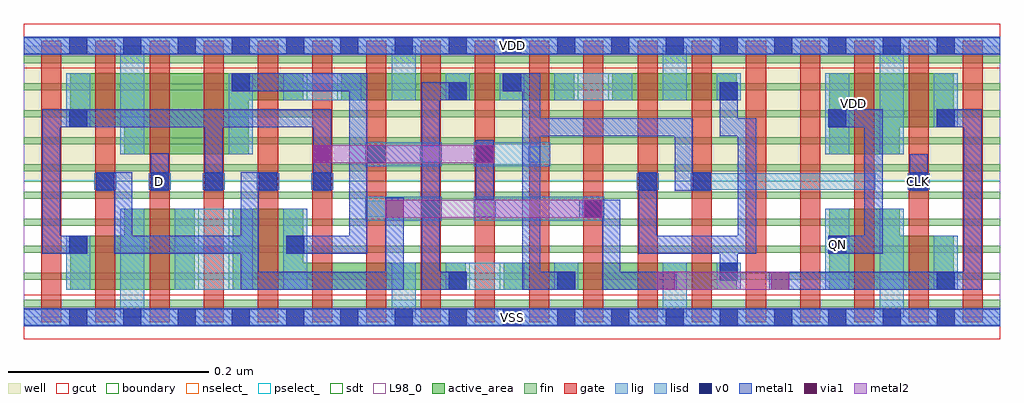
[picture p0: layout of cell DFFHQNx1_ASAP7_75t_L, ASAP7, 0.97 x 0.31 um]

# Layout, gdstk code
import gdstk
lib = gdstk.Library(unit=1e-6, precision=2.5e-10)
def R(c, l, rs):  # rectangles x0, y0, x1, y1
    for r in rs: c.add(gdstk.rectangle(r[:2], r[2:], *l))
def A(c, l, x, y, w, h, nx, ny, dx, dy):  # array of equal rectangles
    R(c, l, [(x+i*dx, y+j*dy, x+i*dx+w, y+j*dy+h) for i in range(nx) for j in range(ny)])
def P(c, l, *ps):  # polygons
    for p in ps: c.add(gdstk.Polygon(p, *l))
well = (1, 0)
fin = (2, 0)
gate = (7, 0)
gcut = (10, 0)
active_area = (11, 0)
nselect_ = (12, 0)
pselect_ = (13, 0)
lig = (16, 0)
lisd = (17, 0)
v0 = (18, 0)
metal1 = (19, 0)
metal2 = (20, 0)
via1 = (21, 0)
sdt = (88, 0)
L98_0 = (98, 0)
boundary = (100, 0)

dffhqnx1_asap7_75t_l = lib.new_cell('DFFHQNx1_ASAP7_75t_L')
R(dffhqnx1_asap7_75t_l, well, [(0,0.135,0.972,0.27)])
A(dffhqnx1_asap7_75t_l, fin, 0, 0.01, 0.972, 0.007, 1, 10, 0, 0.027)
A(dffhqnx1_asap7_75t_l, gate, 0.017, -0.005, 0.02, 0.28, 18, 1, 0.054, 0)
R(dffhqnx1_asap7_75t_l, gcut, [(0,-0.022,0.972,0.022), (0,0.248,0.972,0.292)])
R(dffhqnx1_asap7_75t_l, active_area, [(0.478,0.027,0.71,0.054), (0.316,0.216,0.548,0.243), (0.586,0.216,0.71,0.243)])
P(dffhqnx1_asap7_75t_l, active_area, [(0.802,0.027),(0.802,0.108),(0.872,0.108),(0.872,0.081),(0.926,0.081),(0.926,0.027)],
  [(0.208,0.027),(0.208,0.108),(0.278,0.108),(0.278,0.054),(0.44,0.054),(0.44,0.027)],
  [(0.046,0.027),(0.046,0.081),(0.1,0.081),(0.1,0.108),(0.17,0.108),(0.17,0.027)],
  [(0.802,0.162),(0.802,0.243),(0.926,0.243),(0.926,0.189),(0.872,0.189),(0.872,0.162)],
  [(0.1,0.162),(0.1,0.189),(0.046,0.189),(0.046,0.243),(0.278,0.243),(0.278,0.216),(0.224,0.216),(0.224,0.162)])
R(dffhqnx1_asap7_75t_l, nselect_, [(0,0,0.972,0.135)])
R(dffhqnx1_asap7_75t_l, pselect_, [(0,0.135,0.972,0.27)])
A(dffhqnx1_asap7_75t_l, lig, 0.34, 0.1, 0.022, 0.016, 3, 1, 0.108, 0)
A(dffhqnx1_asap7_75t_l, lig, 0.07, 0.127, 0.022, 0.016, 5, 1, 0.054, 0)
R(dffhqnx1_asap7_75t_l, lig, [(0,-0.008,0.972,0.008), (0.61,0.127,0.632,0.143), (0.664,0.127,0.848,0.143), (0.88,0.127,0.902,0.143), (0.394,0.154,0.416,0.17), (0.502,0.154,0.524,0.17), (0,0.262,0.972,0.278)])
R(dffhqnx1_asap7_75t_l, lisd, [(0.096,0,0.12,0.108), (0.366,0,0.39,0.054), (0.636,0,0.66,0.054), (0.852,0,0.876,0.108), (0.042,0.027,0.066,0.081), (0.15,0.027,0.228,0.108), (0.258,0.027,0.282,0.108), (0.42,0.027,0.498,0.054), (0.528,0.027,0.552,0.054), (0.69,0.027,0.714,0.054), (0.798,0.027,0.822,0.108), (0.906,0.027,0.93,0.081), (0.34,0.096,0.416,0.12), (0.448,0.096,0.578,0.12), (0.34,0.15,0.416,0.174), (0.448,0.15,0.524,0.174), (0.096,0.162,0.12,0.27), (0.204,0.162,0.228,0.243), (0.798,0.162,0.822,0.243), (0.852,0.162,0.876,0.27), (0.042,0.189,0.066,0.243), (0.906,0.189,0.93,0.243), (0.258,0.216,0.336,0.243), (0.366,0.216,0.39,0.27), (0.42,0.216,0.444,0.243), (0.474,0.216,0.498,0.243), (0.528,0.216,0.606,0.243), (0.636,0.216,0.66,0.27), (0.69,0.216,0.714,0.243)])
A(dffhqnx1_asap7_75t_l, v0, 0.045, -0.009, 0.018, 0.018, 17, 2, 0.054, 0.27)
A(dffhqnx1_asap7_75t_l, v0, 0.072, 0.126, 0.018, 0.018, 5, 1, 0.054, 0)
R(dffhqnx1_asap7_75t_l, v0, [(0.423,0.027,0.441,0.045), (0.531,0.027,0.549,0.045), (0.909,0.027,0.927,0.045), (0.693,0.036,0.711,0.054), (0.045,0.063,0.063,0.081), (0.261,0.063,0.279,0.081), (0.801,0.063,0.819,0.081), (0.396,0.099,0.414,0.117), (0.558,0.099,0.576,0.117), (0.612,0.126,0.63,0.144), (0.666,0.126,0.684,0.144), (0.882,0.126,0.9,0.144), (0.342,0.153,0.36,0.171), (0.45,0.153,0.468,0.171), (0.045,0.189,0.063,0.207), (0.801,0.189,0.819,0.207), (0.909,0.189,0.927,0.207), (0.423,0.216,0.441,0.234), (0.693,0.216,0.711,0.234), (0.207,0.225,0.225,0.243), (0.477,0.225,0.495,0.243)])
R(dffhqnx1_asap7_75t_l, metal1, [(0,-0.009,0.972,0.009), (0.45,0.117,0.468,0.176), (0.126,0.126,0.144,0.163), (0.882,0.126,0.9,0.162), (0,0.261,0.972,0.279)])
P(dffhqnx1_asap7_75t_l, metal1, [(0.801,0.063),(0.801,0.081),(0.837,0.081),(0.837,0.189),(0.801,0.189),(0.801,0.207),(0.855,0.207),(0.855,0.063)],
  [(0.018,0.063),(0.018,0.207),(0.306,0.207),(0.306,0.126),(0.288,0.126),(0.288,0.189),(0.198,0.189),(0.198,0.126),(0.18,0.126),(0.18,0.189),(0.036,0.189),(0.036,0.081),(0.063,0.081),(0.063,0.063)],
  [(0.261,0.063),(0.261,0.081),(0.324,0.081),(0.324,0.225),(0.207,0.225),(0.207,0.243),(0.342,0.243),(0.342,0.171),(0.36,0.171),(0.36,0.153),(0.342,0.153),(0.342,0.063)],
  [(0.216,0.027),(0.216,0.063),(0.09,0.063),(0.09,0.126),(0.072,0.126),(0.072,0.144),(0.108,0.144),(0.108,0.081),(0.216,0.081),(0.216,0.144),(0.252,0.144),(0.252,0.126),(0.234,0.126),(0.234,0.045),(0.36,0.045),(0.36,0.119),(0.378,0.119),(0.378,0.027)],
  [(0.576,0.027),(0.576,0.099),(0.553,0.099),(0.553,0.117),(0.594,0.117),(0.594,0.045),(0.65,0.045),(0.65,0.027)],
  [(0.742,0.027),(0.742,0.045),(0.936,0.045),(0.936,0.189),(0.909,0.189),(0.909,0.207),(0.954,0.207),(0.954,0.027)],
  [(0.693,0.036),(0.693,0.063),(0.612,0.063),(0.612,0.144),(0.63,0.144),(0.63,0.081),(0.711,0.081),(0.711,0.18),(0.693,0.18),(0.693,0.234),(0.711,0.234),(0.711,0.198),(0.729,0.198),(0.729,0.063),(0.711,0.063),(0.711,0.036)],
  [(0.496,0.027),(0.496,0.225),(0.477,0.225),(0.477,0.243),(0.514,0.243),(0.514,0.198),(0.666,0.198),(0.666,0.144),(0.684,0.144),(0.684,0.126),(0.648,0.126),(0.648,0.18),(0.514,0.18),(0.514,0.045),(0.549,0.045),(0.549,0.027)],
  [(0.396,0.027),(0.396,0.234),(0.441,0.234),(0.441,0.216),(0.414,0.216),(0.414,0.045),(0.441,0.045),(0.441,0.027)])
R(dffhqnx1_asap7_75t_l, metal2, [(0.63,0.027,0.762,0.045), (0.36,0.099,0.576,0.117), (0.288,0.153,0.468,0.171)])
R(dffhqnx1_asap7_75t_l, via1, [(0.63,0.027,0.648,0.045), (0.744,0.027,0.762,0.045), (0.36,0.099,0.378,0.117), (0.558,0.099,0.576,0.117), (0.288,0.153,0.306,0.171), (0.45,0.153,0.468,0.171)])
A(dffhqnx1_asap7_75t_l, sdt, 0.096, 0.027, 0.024, 0.081, 4, 1, 0.054, 0)
A(dffhqnx1_asap7_75t_l, sdt, 0.366, 0.027, 0.024, 0.027, 4, 1, 0.054, 0)
A(dffhqnx1_asap7_75t_l, sdt, 0.258, 0.216, 0.024, 0.027, 9, 1, 0.054, 0)
R(dffhqnx1_asap7_75t_l, sdt, [(0.042,0.027,0.066,0.081), (0.636,0.027,0.66,0.054), (0.69,0.027,0.714,0.054), (0.798,0.027,0.822,0.108), (0.852,0.027,0.876,0.108), (0.906,0.027,0.93,0.081), (0.096,0.162,0.12,0.243), (0.204,0.162,0.228,0.243), (0.798,0.162,0.822,0.243), (0.852,0.162,0.876,0.243), (0.042,0.189,0.066,0.243), (0.906,0.189,0.93,0.243)])
R(dffhqnx1_asap7_75t_l, L98_0, [(0,0,0.972,0.27)])
R(dffhqnx1_asap7_75t_l, boundary, [(0,0,0.972,0.27)])
dffhqnx1_asap7_75t_l.add(gdstk.Label('D', (0.135,0.135), layer=19, texttype=251))
dffhqnx1_asap7_75t_l.add(gdstk.Label('CLK', (0.891,0.135), layer=19, texttype=251))
dffhqnx1_asap7_75t_l.add(gdstk.Label('QN', (0.81,0.072), layer=19, texttype=251))
dffhqnx1_asap7_75t_l.add(gdstk.Label('VSS', (0.486,0), layer=19, texttype=251))
dffhqnx1_asap7_75t_l.add(gdstk.Label('VDD', (0.486,0.27), layer=19, texttype=251))
dffhqnx1_asap7_75t_l.add(gdstk.Label('VDD', (0.826,0.213), layer=1, texttype=251))
dffhqnx1_asap7_75t_l.add(gdstk.Label('VSS', (1.118,0.213), layer=3, texttype=251))

lib.write_gds('DFFHQNx1_ASAP7_75t_L.gds')
